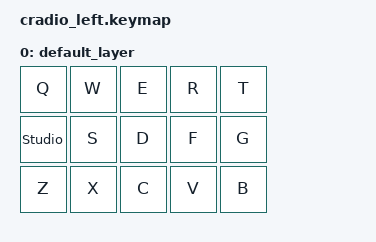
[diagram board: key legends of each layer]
/ {
    keymap {
        compatible = "zmk,keymap";

        default_layer {
            bindings = <
                &kp Q  &kp W  &kp E  &kp R  &kp T
                &studio_unlock  &kp S  &kp D  &kp F  &kp G
                &kp Z  &kp X  &kp C  &kp V  &kp B
            >;
        };
    };
};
